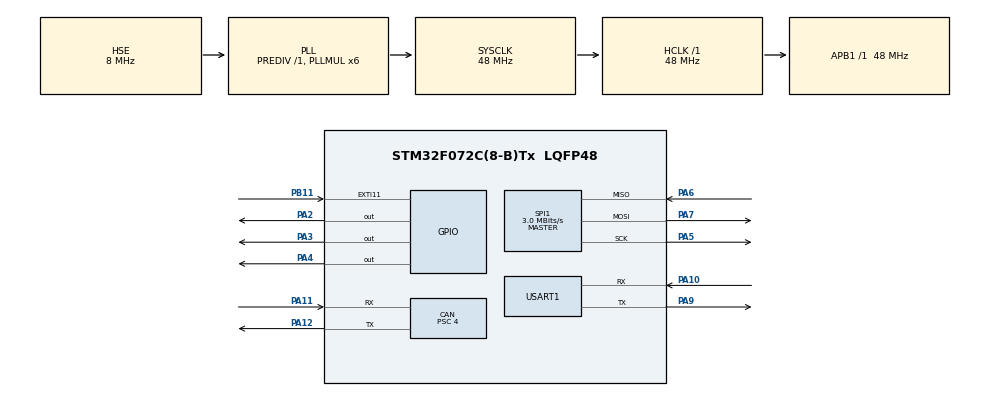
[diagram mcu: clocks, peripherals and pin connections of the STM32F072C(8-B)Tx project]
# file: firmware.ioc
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CAN.BS1=CAN_BS1_6TQ
CAN.BS2=CAN_BS2_5TQ
CAN.CalculateTimeQuantum=83.33333333333333
CAN.Prescaler=4
Mcu.Family=STM32F0
Mcu.Name=STM32F072C(8-B)Tx
Mcu.Package=LQFP48
NVIC.CEC_CAN_IRQn=true\:2\:0\:true\:false\:true\:true
NVIC.EXTI4_15_IRQn=true\:1\:0\:true\:false\:true\:true
NVIC.USART1_IRQn=true\:1\:0\:true\:false\:true\:true
PA10.Mode=Asynchronous
PA10.Signal=USART1_RX
PA11.Mode=Master
PA11.Signal=CAN_RX
PA12.Mode=Master
PA12.Signal=CAN_TX
PA13.Mode=Serial_Wire
PA13.Signal=SYS_SWDIO
PA14.Mode=Serial_Wire
PA14.Signal=SYS_SWCLK
PA2.Signal=GPIO_Output
PA3.Signal=GPIO_Output
PA4.Signal=GPIO_Output
PA5.Mode=Full_Duplex_Master
PA5.Signal=SPI1_SCK
PA6.Mode=Full_Duplex_Master
PA6.Signal=SPI1_MISO
PA7.Mode=Full_Duplex_Master
PA7.Signal=SPI1_MOSI
PA9.Mode=Asynchronous
PA9.Signal=USART1_TX
PB11.GPIO_ModeDefaultEXTI=GPIO_MODE_IT_FALLING
PB11.GPIO_PuPd=GPIO_PULLUP
PB11.Signal=GPXTI11
PF0-OSC_IN.Mode=HSE-External-Oscillator
PF0-OSC_IN.Signal=RCC_OSC_IN
PF1-OSC_OUT.Mode=HSE-External-Oscillator
PF1-OSC_OUT.Signal=RCC_OSC_OUT
ProjectManager.HeapSize=0x200
ProjectManager.StackSize=0x400
ProjectManager.TargetToolchain=EWARM V8
RCC.AHBFreq_Value=48000000
RCC.APB1Freq_Value=48000000
RCC.APB1TimFreq_Value=48000000
RCC.HCLKFreq_Value=48000000
RCC.PLLMUL=RCC_PLL_MUL6
RCC.SYSCLKFreq_VALUE=48000000
RCC.SYSCLKSource=RCC_SYSCLKSOURCE_PLLCLK
SPI1.BaudRatePrescaler=SPI_BAUDRATEPRESCALER_16
SPI1.CalculateBaudRate=3.0 MBits/s
SPI1.DataSize=SPI_DATASIZE_8BIT
SPI1.Direction=SPI_DIRECTION_2LINES
SPI1.Mode=SPI_MODE_MASTER
SPI1.VirtualType=VM_MASTER
USART1.VirtualMode-Asynchronous=VM_ASYNC
board=custom

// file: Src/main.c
/**
  ******************************************************************************
  * @file           : main.c
  * @brief          : Main program body
  ******************************************************************************
  ** This notice applies to any and all portions of this file
  * that are not between comment pairs USER CODE BEGIN and
  * USER CODE END. Other portions of this file, whether
  * inserted by the user or by software development tools
  * are owned by their respective copyright owners.
  *
  * COPYRIGHT(c) 2019 STMicroelectronics
  *
  * Redistribution and use in source and binary forms, with or without modification,
  * are permitted provided that the following conditions are met:
  *   1. Redistributions of source code must retain the above copyright notice,
  *      this list of conditions and the following disclaimer.
  *   2. Redistributions in binary form must reproduce the above copyright notice,
  *      this list of conditions and the following disclaimer in the documentation
  *      and/or other materials provided with the distribution.
  *   3. Neither the name of STMicroelectronics nor the names of its contributors
  *      may be used to endorse or promote products derived from this software
  *      without specific prior written permission.
  *
  * THIS SOFTWARE IS PROVIDED BY THE COPYRIGHT HOLDERS AND CONTRIBUTORS "AS IS"
  * AND ANY EXPRESS OR IMPLIED WARRANTIES, INCLUDING, BUT NOT LIMITED TO, THE
  * IMPLIED WARRANTIES OF MERCHANTABILITY AND FITNESS FOR A PARTICULAR PURPOSE ARE
  * DISCLAIMED. IN NO EVENT SHALL THE COPYRIGHT HOLDER OR CONTRIBUTORS BE LIABLE
  * FOR ANY DIRECT, INDIRECT, INCIDENTAL, SPECIAL, EXEMPLARY, OR CONSEQUENTIAL
  * DAMAGES (INCLUDING, BUT NOT LIMITED TO, PROCUREMENT OF SUBSTITUTE GOODS OR
  * SERVICES; LOSS OF USE, DATA, OR PROFITS; OR BUSINESS INTERRUPTION) HOWEVER
  * CAUSED AND ON ANY THEORY OF LIABILITY, WHETHER IN CONTRACT, STRICT LIABILITY,
  * OR TORT (INCLUDING NEGLIGENCE OR OTHERWISE) ARISING IN ANY WAY OUT OF THE USE
  * OF THIS SOFTWARE, EVEN IF ADVISED OF THE POSSIBILITY OF SUCH DAMAGE.
  *
  ******************************************************************************
  */
#include "main.h"
#include "stm32f0xx_hal.h"
#include "can.h"
#include "spi.h"
#include "usart.h"
#include "gpio.h"

/* USER CODE BEGIN Includes */
#include "nrf24l01.h"
#include "string.h"
#include "stdlib.h"
/* USER CODE END Includes */

/* USER CODE BEGIN PV */
/* Private variables ---------------------------------------------------------*/

/* USER CODE END PV */

void SystemClock_Config(void);

/* USER CODE BEGIN PFP */
/* Private function prototypes -----------------------------------------------*/

/* USER CODE END PFP */

int main(void)
{
  /* USER CODE BEGIN 1 */
  uint8_t nrf_init_result=0;
  /* USER CODE END 1 */

  /* MCU Configuration----------------------------------------------------------*/

  /* Reset of all peripherals, Initializes the Flash interface and the Systick. */
  HAL_Init();

  /* Configure the system clock */
  SystemClock_Config();

  /* Initialize all configured peripherals */
  MX_GPIO_Init();
  MX_CAN_Init();
  MX_SPI1_Init();
  MX_USART1_UART_Init();
  /* USER CODE BEGIN 2 */

  Can_Cofigure(&hcan);
#define GROUP   1

  uint8_t Rx_Addr[3][5]={
    {0x10*GROUP,0x10*GROUP,0x10*GROUP,0x10*GROUP,0x11*GROUP},
    {0,0,0,0,0},
    {0,0,0,0,0}
  };
  //uint8_t Tx_Addr[5]={0x01*GROUP,0x01*GROUP,0x01*GROUP,0x01*GROUP,0x22*GROUP};

#if GROUP!=5
  nrf_init_result=NRF_Init(1);
  nrf_init_result&=NRF_Set_Rx_Addr(Rx_Addr,sizeof(Rx_Addr));
#else
  nrf_init_result=NRF_Init(2);
#endif

  //NRF_Receive_IT();
  //NRF_IRQ_Enable();
  /* USER CODE END 2 */

  /* Infinite loop */
  while (1)
  {
    NRF_Receive();
  }

}

void SystemClock_Config(void)
{

  RCC_OscInitTypeDef RCC_OscInitStruct;
  RCC_ClkInitTypeDef RCC_ClkInitStruct;
  RCC_PeriphCLKInitTypeDef PeriphClkInit;

    /**Initializes the CPU, AHB and APB busses clocks
    */
  RCC_OscInitStruct.OscillatorType = RCC_OSCILLATORTYPE_HSI14|RCC_OSCILLATORTYPE_HSE;
  RCC_OscInitStruct.HSEState = RCC_HSE_ON;
  RCC_OscInitStruct.HSI14State = RCC_HSI14_ON;
  RCC_OscInitStruct.HSI14CalibrationValue = 16;
  RCC_OscInitStruct.PLL.PLLState = RCC_PLL_ON;
  RCC_OscInitStruct.PLL.PLLSource = RCC_PLLSOURCE_HSE;
  RCC_OscInitStruct.PLL.PLLMUL = RCC_PLL_MUL6;
  RCC_OscInitStruct.PLL.PREDIV = RCC_PREDIV_DIV1;
  if (HAL_RCC_OscConfig(&RCC_OscInitStruct) != HAL_OK)
  {
    _Error_Handler(__FILE__, __LINE__);
  }

    /**Initializes the CPU, AHB and APB busses clocks
    */
  RCC_ClkInitStruct.ClockType = RCC_CLOCKTYPE_HCLK|RCC_CLOCKTYPE_SYSCLK
                              |RCC_CLOCKTYPE_PCLK1;
  RCC_ClkInitStruct.SYSCLKSource = RCC_SYSCLKSOURCE_PLLCLK;
  RCC_ClkInitStruct.AHBCLKDivider = RCC_SYSCLK_DIV1;
  RCC_ClkInitStruct.APB1CLKDivider = RCC_HCLK_DIV1;

  if (HAL_RCC_ClockConfig(&RCC_ClkInitStruct, FLASH_LATENCY_1) != HAL_OK)
  {
    _Error_Handler(__FILE__, __LINE__);
  }

  PeriphClkInit.PeriphClockSelection = RCC_PERIPHCLK_USART1;
  PeriphClkInit.Usart1ClockSelection = RCC_USART1CLKSOURCE_PCLK1;
  if (HAL_RCCEx_PeriphCLKConfig(&PeriphClkInit) != HAL_OK)
  {
    _Error_Handler(__FILE__, __LINE__);
  }

    /**Configure the Systick interrupt time
    */
  HAL_SYSTICK_Config(HAL_RCC_GetHCLKFreq()/1000);

    /**Configure the Systick
    */
  HAL_SYSTICK_CLKSourceConfig(SYSTICK_CLKSOURCE_HCLK);

  /* SysTick_IRQn interrupt configuration */
  HAL_NVIC_SetPriority(SysTick_IRQn, 0, 0);
}

/* USER CODE BEGIN 4 */

typedef struct{
  uint16_t gpio_pin;
  uint8_t value;
}Button;

#define Button_NUM      10

 static uint16_t state=0;
 uint8_t  rx_data[10]={0};
void NRF_Receive_Callback(uint8_t * data,int len){

  uint8_t temp=0;
  uint8_t temp_data[3]={0};
  uint16_t joy_stick_data[4]={0};
  //memcpy(rx_data,data,10);
  memcpy(&state,data+8,2);
  if(state){
    for(int i=0;i<Button_NUM;++i){
      temp=1<<i;
      if(temp&state){
        temp_data[0]=(state&0xc000)>>14;
        temp_data[1]=i;
        temp_data[2]='d';
        Can_Send_Message(325,temp_data,3);   // 单板测试的时候把这个注释掉
        uprintf("%x \r\n",state);
        break;
      }
    }
    state=0;
   HAL_GPIO_TogglePin(GPIOA,GPIO_PIN_2);
    //Can_Send_Message(325,&state,1);
  }else{
    memcpy(joy_stick_data,data,8);
    Can_Send_Message(324,(uint8_t *)joy_stick_data,8);        // 单板测试的时候把这个注释掉
  }
}
/* USER CODE END 4 */

void _Error_Handler(char *file, int line)
{
  while(1)
  {
  }
}

/************************ (C) COPYRIGHT STMicroelectronics *****END OF FILE****/
